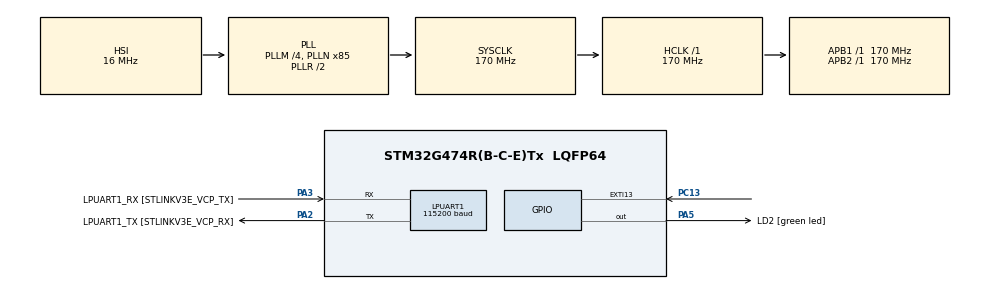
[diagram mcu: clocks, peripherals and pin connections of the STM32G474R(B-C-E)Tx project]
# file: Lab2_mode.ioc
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LPUART1.BaudRate=115200
LPUART1.WordLength=UART_WORDLENGTH_8B
Mcu.Family=STM32G4
Mcu.Name=STM32G474R(B-C-E)Tx
Mcu.Package=LQFP64
NVIC.EXTI15_10_IRQn=true\:0\:0\:false\:false\:true\:true\:true\:true
NVIC.PriorityGroup=NVIC_PRIORITYGROUP_4
PA13.GPIO_Label=T_SWDIO
PA13.Mode=Serial_Wire
PA13.Signal=SYS_JTMS-SWDIO
PA14.GPIO_Label=T_SWCLK
PA14.Mode=Serial_Wire
PA14.Signal=SYS_JTCK-SWCLK
PA2.GPIO_Label=LPUART1_TX [STLINKV3E_VCP_RX]
PA2.Mode=Asynchronous
PA2.Signal=LPUART1_TX
PA3.GPIO_Label=LPUART1_RX [STLINKV3E_VCP_TX]
PA3.Mode=Asynchronous
PA3.Signal=LPUART1_RX
PA5.GPIO_Label=LD2 [green led]
PA5.Signal=GPIO_Output
PB3.GPIO_Label=T_SWO
PB3.Signal=SYS_JTDO-SWO
PC13.Signal=GPXTI13
PC14-OSC32_IN.Mode=LSE-External-Oscillator
PC14-OSC32_IN.Signal=RCC_OSC32_IN
PC15-OSC32_OUT.Mode=LSE-External-Oscillator
PC15-OSC32_OUT.Signal=RCC_OSC32_OUT
PF0-OSC_IN.Mode=HSE-External-Oscillator
PF0-OSC_IN.Signal=RCC_OSC_IN
PF1-OSC_OUT.Mode=HSE-External-Oscillator
PF1-OSC_OUT.Signal=RCC_OSC_OUT
ProjectManager.HeapSize=0x200
ProjectManager.StackSize=0x400
ProjectManager.TargetToolchain=STM32CubeIDE
RCC.ADC12Freq_Value=170000000
RCC.ADC345Freq_Value=170000000
RCC.AHBFreq_Value=170000000
RCC.APB1Freq_Value=170000000
RCC.APB1TimFreq_Value=170000000
RCC.APB2Freq_Value=170000000
RCC.APB2TimFreq_Value=170000000
RCC.CortexFreq_Value=170000000
RCC.EXTERNAL_CLOCK_VALUE=12288000
RCC.HCLKFreq_Value=170000000
RCC.HSE_VALUE=24000000
RCC.HSI48_VALUE=48000000
RCC.HSI_VALUE=16000000
RCC.PLLM=RCC_PLLM_DIV4
RCC.PLLN=85
RCC.RTCClockSelection=RCC_RTCCLKSOURCE_LSE
RCC.SYSCLKFreq_VALUE=170000000
RCC.SYSCLKSource=RCC_SYSCLKSOURCE_PLLCLK
RCC.USBFreq_Value=170000000
RCC.VCOOutputFreq_Value=340000000
VP_SYS_VS_DBSignals.Mode=DisableDeadBatterySignals
board=NUCLEO-G474RE

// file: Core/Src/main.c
/* USER CODE BEGIN Header */
/**
 ******************************************************************************
 * @file           : main.c
 * @brief          : Main program body
 ******************************************************************************
 * @attention
 *
 * Copyright (c) 2024 STMicroelectronics.
 * All rights reserved.
 *
 * This software is licensed under terms that can be found in the LICENSE file
 * in the root directory of this software component.
 * If no LICENSE file comes with this software, it is provided AS-IS.
 *
 ******************************************************************************
 */
/* USER CODE END Header */
#include "main.h"

UART_HandleTypeDef hlpuart1;

/* USER CODE BEGIN PV */
int mode_status = 1;
/* USER CODE END PV */

void SystemClock_Config(void);
static void MX_GPIO_Init(void);
static void MX_LPUART1_UART_Init(void);
/* USER CODE BEGIN PFP */
void Mode_LD2();
/* USER CODE END PFP */

int main(void) {

	/* MCU Configuration--------------------------------------------------------*/

	/* Reset of all peripherals, Initializes the Flash interface and the Systick. */
	HAL_Init();

	/* Configure the system clock */
	SystemClock_Config();

	/* Initialize all configured peripherals */
	MX_GPIO_Init();
	MX_LPUART1_UART_Init();

	/* Infinite loop */
	while (1) {

		/* USER CODE BEGIN 3 */
		Mode_LD2();
	}
	/* USER CODE END 3 */
}

void SystemClock_Config(void) {
	RCC_OscInitTypeDef RCC_OscInitStruct = { 0 };
	RCC_ClkInitTypeDef RCC_ClkInitStruct = { 0 };

	/** Configure the main internal regulator output voltage
	 */
	HAL_PWREx_ControlVoltageScaling(PWR_REGULATOR_VOLTAGE_SCALE1_BOOST);

	/** Initializes the RCC Oscillators according to the specified parameters
	 * in the RCC_OscInitTypeDef structure.
	 */
	RCC_OscInitStruct.OscillatorType = RCC_OSCILLATORTYPE_HSI;
	RCC_OscInitStruct.HSIState = RCC_HSI_ON;
	RCC_OscInitStruct.HSICalibrationValue = RCC_HSICALIBRATION_DEFAULT;
	RCC_OscInitStruct.PLL.PLLState = RCC_PLL_ON;
	RCC_OscInitStruct.PLL.PLLSource = RCC_PLLSOURCE_HSI;
	RCC_OscInitStruct.PLL.PLLM = RCC_PLLM_DIV4;
	RCC_OscInitStruct.PLL.PLLN = 85;
	RCC_OscInitStruct.PLL.PLLP = RCC_PLLP_DIV2;
	RCC_OscInitStruct.PLL.PLLQ = RCC_PLLQ_DIV2;
	RCC_OscInitStruct.PLL.PLLR = RCC_PLLR_DIV2;
	if (HAL_RCC_OscConfig(&RCC_OscInitStruct) != HAL_OK) {
		Error_Handler();
	}

	/** Initializes the CPU, AHB and APB buses clocks
	 */
	RCC_ClkInitStruct.ClockType = RCC_CLOCKTYPE_HCLK | RCC_CLOCKTYPE_SYSCLK
			| RCC_CLOCKTYPE_PCLK1 | RCC_CLOCKTYPE_PCLK2;
	RCC_ClkInitStruct.SYSCLKSource = RCC_SYSCLKSOURCE_PLLCLK;
	RCC_ClkInitStruct.AHBCLKDivider = RCC_SYSCLK_DIV1;
	RCC_ClkInitStruct.APB1CLKDivider = RCC_HCLK_DIV1;
	RCC_ClkInitStruct.APB2CLKDivider = RCC_HCLK_DIV1;

	if (HAL_RCC_ClockConfig(&RCC_ClkInitStruct, FLASH_LATENCY_4) != HAL_OK) {
		Error_Handler();
	}
}

static void MX_LPUART1_UART_Init(void) {

	hlpuart1.Instance = LPUART1;
	hlpuart1.Init.BaudRate = 115200;
	hlpuart1.Init.WordLength = UART_WORDLENGTH_8B;
	hlpuart1.Init.StopBits = UART_STOPBITS_1;
	hlpuart1.Init.Parity = UART_PARITY_NONE;
	hlpuart1.Init.Mode = UART_MODE_TX_RX;
	hlpuart1.Init.HwFlowCtl = UART_HWCONTROL_NONE;
	hlpuart1.Init.OneBitSampling = UART_ONE_BIT_SAMPLE_DISABLE;
	hlpuart1.Init.ClockPrescaler = UART_PRESCALER_DIV1;
	hlpuart1.AdvancedInit.AdvFeatureInit = UART_ADVFEATURE_NO_INIT;
	if (HAL_UART_Init(&hlpuart1) != HAL_OK) {
		Error_Handler();
	}
	if (HAL_UARTEx_SetTxFifoThreshold(&hlpuart1, UART_TXFIFO_THRESHOLD_1_8)
			!= HAL_OK) {
		Error_Handler();
	}
	if (HAL_UARTEx_SetRxFifoThreshold(&hlpuart1, UART_RXFIFO_THRESHOLD_1_8)
			!= HAL_OK) {
		Error_Handler();
	}
	if (HAL_UARTEx_DisableFifoMode(&hlpuart1) != HAL_OK) {
		Error_Handler();
	}

}

static void MX_GPIO_Init(void) {
	GPIO_InitTypeDef GPIO_InitStruct = { 0 };

	/* GPIO Ports Clock Enable */
	__HAL_RCC_GPIOC_CLK_ENABLE();
	__HAL_RCC_GPIOF_CLK_ENABLE();
	__HAL_RCC_GPIOA_CLK_ENABLE();
	__HAL_RCC_GPIOB_CLK_ENABLE();

	/*Configure GPIO pin Output Level */
	HAL_GPIO_WritePin(LD2_GPIO_Port, LD2_Pin, GPIO_PIN_RESET);

	/*Configure GPIO pin : PC13 */
	GPIO_InitStruct.Pin = GPIO_PIN_13;
	GPIO_InitStruct.Mode = GPIO_MODE_IT_RISING;
	GPIO_InitStruct.Pull = GPIO_NOPULL;
	HAL_GPIO_Init(GPIOC, &GPIO_InitStruct);

	/*Configure GPIO pin : LD2_Pin */
	GPIO_InitStruct.Pin = LD2_Pin;
	GPIO_InitStruct.Mode = GPIO_MODE_OUTPUT_PP;
	GPIO_InitStruct.Pull = GPIO_NOPULL;
	GPIO_InitStruct.Speed = GPIO_SPEED_FREQ_LOW;
	HAL_GPIO_Init(LD2_GPIO_Port, &GPIO_InitStruct);

	/* EXTI interrupt init*/
	HAL_NVIC_SetPriority(EXTI15_10_IRQn, 0, 0);
	HAL_NVIC_EnableIRQ(EXTI15_10_IRQn);

}

/* USER CODE BEGIN 4 */

void HAL_GPIO_EXTI_Callback(uint16_t GPIO_Pin) {
	if (GPIO_Pin == GPIO_PIN_13) {
		int pre_mode_status = mode_status;
		if (pre_mode_status == 3) {
			mode_status = 1;
		} else if (pre_mode_status == 1) {

			mode_status = 2;
		} else if (pre_mode_status == 2) {
			mode_status = 3;
		}
	}
}

void Mode_LD2() {
	if (mode_status == 1) {
		HAL_GPIO_WritePin(GPIOA, GPIO_PIN_5, GPIO_PIN_SET); //เปิดไฟ
	} else if (mode_status == 2) {
		HAL_GPIO_WritePin(GPIOA, GPIO_PIN_5, GPIO_PIN_RESET); //เปิดไฟ
	} else if (mode_status == 3) {
		static uint32_t timestamp = 0;
		if (timestamp <= HAL_GetTick()) {
			timestamp = HAL_GetTick() + 1000;
			HAL_GPIO_TogglePin(GPIOA, GPIO_PIN_5); // สลับสถานะของ LED
		}
	}
}
/* USER CODE END 4 */

void Error_Handler(void) {
	__disable_irq();
	while (1) {
	}
}
